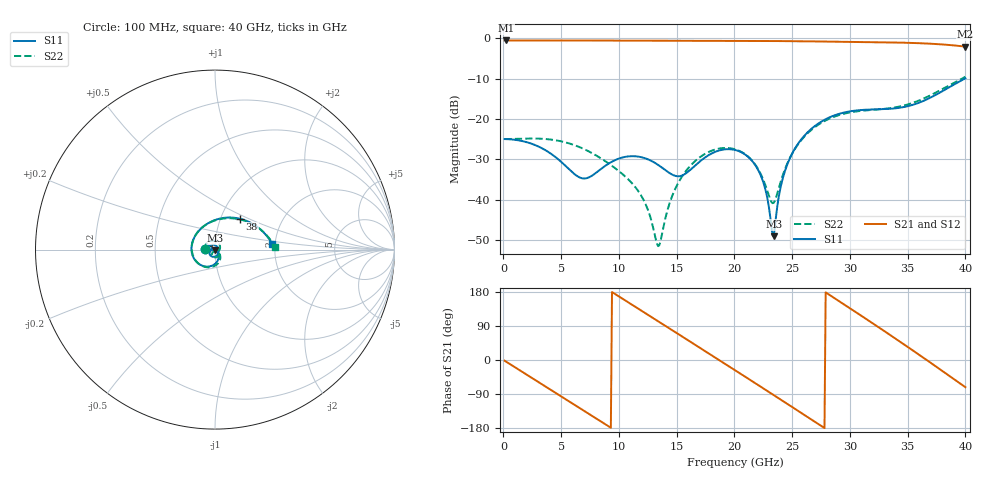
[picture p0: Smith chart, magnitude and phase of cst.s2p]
! B_ts6_L1L6: ThunderScope stack: L1→B.Cu, no stub
! stackup: ThunderScope Rev5.3 6-layer (FR408HR / FR-4, from the board file)
! ports: 1, 2
! CST Studio Suite 2025.5 Release from 2025-05-30, time domain (FIT, hexahedral, PBA), 132000 mesh cells, 31 s
! mesh: {'lpw': 20, 'lpb': 20, 'minstep': 0.0, 'ratio': 20}; ports: port 1 (face); port 2 (face)
! interpolated from CST's 1001 samples to the case grid
# Hz S RI R 50
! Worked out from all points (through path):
!   400 points, 100 MHz to 40 GHz, reference 50 ohm
!   highest |S21| = -0.51 dB at 200 MHz (marker M1); lowest = -2.0 dB at 40 GHz (marker M2)
!   group delay of S21, straight-line fit = 54.6 ps
!   lowest |S11| = -49.0 dB at 23.4 GHz (marker M3), VSWR 1.01, Z = 50 - j0.351 ohm
!   |S11| at or under -10 dB: start of sweep to 39.92 GHz
!   |S22| runs from -51.5 to -9.5 dB; largest |S21 - S12| = 4.5e-07
!   S11 on the Smith chart (normalised r, x): 100 MHz: 0.89, +0.00; 38 GHz: 1.24, +0.45; 40 GHz: 1.93, +0.14
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1e8  -0.0565 0.00101  0.9429 -0.0316  0.9429 -0.0316  -0.0566 0.00106
2e8  -0.0565 0.00201  0.9413 -0.0632  0.9413 -0.0632  -0.0565 0.00213
3.7e9  -0.0332 0.0234  0.3059 -0.892  0.3059 -0.892  -0.0379 0.042
6.8e9  -0.0172 0.00675  -0.6141 -0.7146  -0.6141 -0.7146  0.0143 0.0412
1e10  -0.032 0.00524  -0.9191 0.1998  -0.9191 0.1998  0.0218 -0.00603
1.21e10  -0.0239 0.0231  -0.5687 0.748  -0.5687 0.748  0.00304 -0.0097
1.34e10  -0.00609 0.0263  -0.1973 0.9181  -0.1973 0.9181  0.00209 -0.00164
1.46e10  0.0115 0.017  0.1805 0.9206  0.1805 0.9206  0.0109 0.00189
1.59e10  0.0213 -0.00447  0.5545 0.7551  0.5545 0.7551  0.023 -0.00568
1.81e10  0.0024 -0.0378  0.9168 0.1785  0.9168 0.1785  0.0208 -0.0352
2.01e10  -0.027 -0.0312  0.8235 -0.4359  0.8235 -0.4359  -0.00649 -0.0415
2.22e10  -0.0208 -0.0043  0.334 -0.8676  0.334 -0.8676  -0.0139 -0.017
2.34e10  -0.000379 -0.00352  -0.041 -0.9272  -0.041 -0.9272  0.00167 -0.009
2.39e10  0.00828 -0.00889  -0.1989 -0.9055  -0.1989 -0.9055  0.0103 -0.0107
2.45e10  0.0165 -0.0196  -0.3799 -0.8442  -0.3799 -0.8442  0.0201 -0.0173
2.67e10  0.00382 -0.0764  -0.8505 -0.3477  -0.8505 -0.3477  0.021 -0.0712
2.86e10  -0.0592 -0.0932  -0.8787 0.2437  -0.8787 0.2437  -0.0396 -0.0989
3.06e10  -0.1203 -0.0441  -0.5127 0.7453  -0.5127 0.7453  -0.1133 -0.0522
3.34e10  -0.1128 0.0723  0.3391 0.8264  0.3391 0.8264  -0.1046 0.0871
3.58e10  -0.0245 0.1543  0.8326 0.2683  0.8326 0.2683  0.0104 0.1657
3.8e10  0.1399 0.1717  0.7378 -0.4062  0.7378 -0.4062  0.1753 0.1571
4e10  0.3188 0.0324  0.2476 -0.7513  0.2476 -0.7513  0.3341 0.0139
